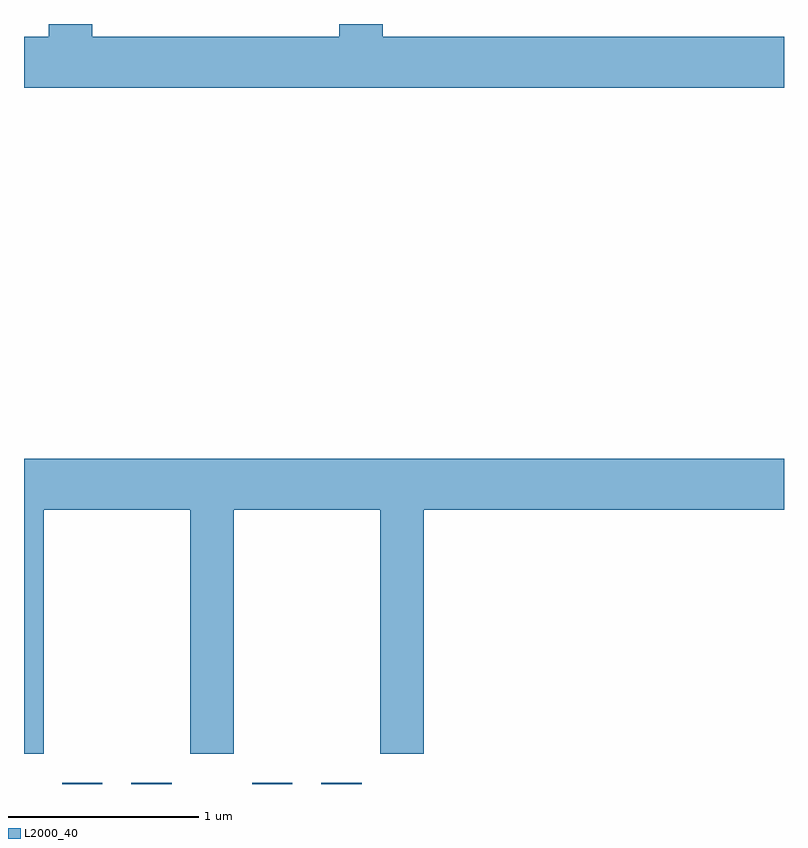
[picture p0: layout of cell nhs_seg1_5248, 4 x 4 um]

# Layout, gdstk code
import gdstk
lib = gdstk.Library(unit=1e-6, precision=1e-09)
def R(c, l, rs):  # rectangles x0, y0, x1, y1
    for r in rs: c.add(gdstk.rectangle(r[:2], r[2:], *l))
def P(c, l, *ps):  # polygons
    for p in ps: c.add(gdstk.Polygon(p, *l))
L2000_40 = (2000, 40)

nhs_seg1_5248 = lib.new_cell('nhs_seg1_5248')
R(nhs_seg1_5248, L2000_40, [(343.811,873.712,344.024,873.719), (344.176,873.712,344.389,873.719), (344.811,873.712,345.024,873.719), (345.176,873.712,345.389,873.719)])
P(nhs_seg1_5248, L2000_40, [(347.611,877.644),(345.499,877.644),(345.499,877.712),(345.271,877.712),(345.271,877.644),(343.969,877.644),(343.969,877.712),(343.741,877.712),(343.741,877.644),(343.611,877.644),(343.611,877.376),(347.611,877.376)],
  [(343.714,875.156),(344.486,875.156),(344.486,873.871),(344.714,873.871),(344.714,875.156),(345.486,875.156),(345.486,873.871),(345.714,873.871),(345.714,875.156),(347.611,875.156),(347.611,875.424),(343.611,875.424),(343.611,873.871),(343.714,873.871)])

lib.write_gds('nhs_seg1_5248.gds')
